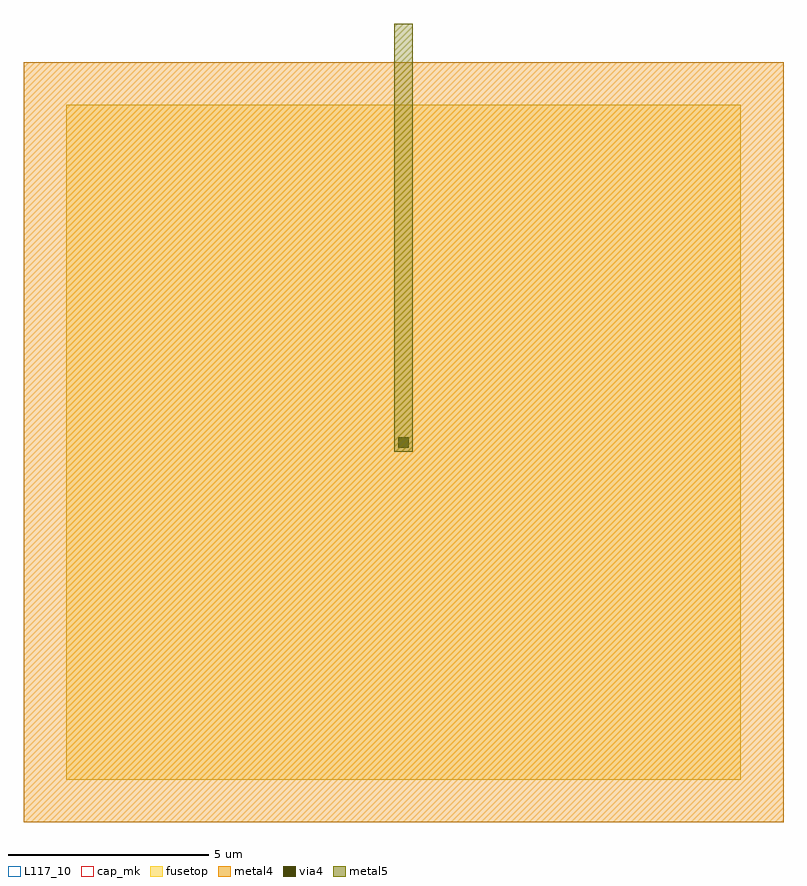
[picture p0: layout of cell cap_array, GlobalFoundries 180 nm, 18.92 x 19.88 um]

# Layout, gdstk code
import gdstk
lib = gdstk.Library(unit=1e-6, precision=5e-10)
def R(c, l, rs):  # rectangles x0, y0, x1, y1
    for r in rs: c.add(gdstk.rectangle(r[:2], r[2:], *l))
via4 = (41, 0)
metal4 = (46, 0)
fusetop = (75, 0)
metal5 = (81, 0)
cap_mk = (117, 5)
L117_10 = (117, 10)

cap_array = lib.new_cell('cap_array')
R(cap_array, via4, [(9.33,9.33,9.59,9.59)])
R(cap_array, metal4, [(0,0,18.92,18.92)])
R(cap_array, fusetop, [(1.06,1.06,17.86,17.86)])
R(cap_array, metal5, [(9.23,9.23,9.69,9.69), (9.23,9.69,9.69,19.42), (9.23,19.42,9.69,19.88)])
R(cap_array, cap_mk, [(1.06,1.06,17.86,17.86)])
R(cap_array, L117_10, [(1.06,1.06,17.86,17.86)])

lib.write_gds('cap_array.gds')
